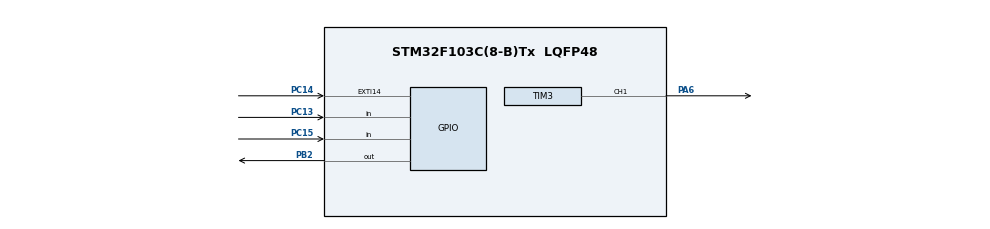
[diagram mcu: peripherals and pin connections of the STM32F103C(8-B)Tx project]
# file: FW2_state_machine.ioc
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Mcu.Family=STM32F1
Mcu.Name=STM32F103C(8-B)Tx
Mcu.Package=LQFP48
NVIC.EXTI15_10_IRQn=true\:1\:0\:true\:false\:true\:true\:true
NVIC.PriorityGroup=NVIC_PRIORITYGROUP_4
NVIC.TIM3_IRQn=true\:0\:0\:false\:false\:true\:true\:true
PA13.Mode=Serial_Wire
PA13.Signal=SYS_JTMS-SWDIO
PA14.Mode=Serial_Wire
PA14.Signal=SYS_JTCK-SWCLK
PA6.Signal=S_TIM3_CH1
PB2.GPIO_PuPd=GPIO_PULLDOWN
PB2.Signal=GPIO_Output
PC13-TAMPER-RTC.GPIO_PuPd=GPIO_PULLUP
PC13-TAMPER-RTC.Signal=GPIO_Input
PC14-OSC32_IN.GPIO_ModeDefaultEXTI=GPIO_MODE_IT_FALLING
PC14-OSC32_IN.GPIO_PuPd=GPIO_PULLUP
PC14-OSC32_IN.Signal=GPXTI14
PC15-OSC32_OUT.GPIO_PuPd=GPIO_PULLUP
PC15-OSC32_OUT.Signal=GPIO_Input
ProjectManager.HeapSize=0x200
ProjectManager.StackSize=0x400
ProjectManager.TargetToolchain=STM32CubeIDE
RCC.APB1Freq_Value=8000000
RCC.APB2Freq_Value=8000000
SH.S_TIM3_CH1.0=TIM3_CH1,PWM Generation1 CH1
TIM3.Channel-PWM\ Generation1\ CH1=TIM_CHANNEL_1
TIM3.Period=99
VP_TIM3_VS_ClockSourceINT.Mode=Internal
board=custom

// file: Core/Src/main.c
/* USER CODE BEGIN Header */
/**
  ******************************************************************************
  * @file           : main.c
  * @brief          : Main program body
  ******************************************************************************
  * @attention
  *
  * <h2><center>&copy; Copyright (c) 2023 STMicroelectronics.
  * All rights reserved.</center></h2>
  *
  * This software component is licensed by ST under BSD 3-Clause license,
  * the "License"; You may not use this file except in compliance with the
  * License. You may obtain a copy of the License at:
  *                        opensource.org/licenses/BSD-3-Clause
  *
  ******************************************************************************
  */
/* USER CODE END Header */
#include "main.h"

/* USER CODE BEGIN Includes */
#include "button.h"
#include "flash.h"
/* USER CODE END Includes */

/* USER CODE BEGIN PD */
#define SPEED_FAST_BLINK 	100 //ms
#define SPEED_SLOW_BLINK 	1000 //ms
#define SOFT_START			0
#define IDLE				1
#define	RUN 				2
#define ERROR_STATE			3
#define GPIOx_LED1			GPIOB
#define PIN_LED1			GPIO_PIN_2
#define GPIOx_BTN1			GPIOC
#define PIN_BTN1			GPIO_PIN_13
#define GPIOx_BTN2			GPIOC
#define PIN_BTN2			GPIO_PIN_14
#define NON_ERROR			0

/* USER CODE END PD */

TIM_HandleTypeDef htim3;

/* USER CODE BEGIN PV */

BUTTON_Name button_1;

/* USER CODE END PV */

void SystemClock_Config(void);
static void MX_GPIO_Init(void);
static void MX_TIM3_Init(void);
/* USER CODE BEGIN PFP */
void soft_start ();
void idle();
void run();
void error();
void fast_blinky(GPIO_TypeDef *GPIOx, uint16_t GPIO_Pin);
void error_led_blinky();
void slow_blinky(GPIO_TypeDef *GPIOx, uint16_t GPIO_Pin);
void led_on(GPIO_TypeDef *GPIOx, uint16_t GPIO_Pin);
void led_off(GPIO_TypeDef *GPIOx, uint16_t GPIO_Pin);

/* USER CODE END PFP */

/* USER CODE BEGIN 0 */
void fast_blinky(GPIO_TypeDef *GPIOx, uint16_t GPIO_Pin){
	HAL_GPIO_TogglePin(GPIOx, GPIO_Pin);
	HAL_Delay(SPEED_FAST_BLINK);
}

void error_led_blinky(){
	led_off(GPIOx_LED1, PIN_LED1);
	htim3.Instance->CCR1 = 0;
	HAL_Delay(SPEED_FAST_BLINK);
	led_on(GPIOx_LED1, PIN_LED1);
	htim3.Instance->CCR1 = 100;
	HAL_Delay(SPEED_FAST_BLINK);
}

void slow_blinky(GPIO_TypeDef *GPIOx, uint16_t GPIO_Pin){
	HAL_GPIO_TogglePin(GPIOx, GPIO_Pin);
	HAL_Delay(SPEED_SLOW_BLINK);
}

// 0 led off, 1 led on
void led_on(GPIO_TypeDef *GPIOx, uint16_t GPIO_Pin){
	HAL_GPIO_WritePin(GPIOx, GPIO_Pin, GPIO_PIN_SET);
}
void led_off(GPIO_TypeDef *GPIOx, uint16_t GPIO_Pin){
	HAL_GPIO_WritePin(GPIOx, GPIO_Pin, GPIO_PIN_RESET);
}

void soft_start(){

//	Flash_Write_Uint((SOFT_START), _PAGE_127_);
	int i = 10;
	htim3.Instance->CCR1 = 0;
	while (i!=0){
		fast_blinky(GPIOx_LED1, PIN_LED1);
		i--;
	}
	if (Flash_Read_Uint(_PAGE_127_) == (ERROR_STATE)) {

					return;
		}
	Flash_Write_Uint((IDLE), _PAGE_127_);
}

void idle(){
	Flash_Write_Uint((IDLE), _PAGE_127_);
	while ((Flash_Read_Uint(_PAGE_127_) == (IDLE))&&(BUTTON_Read(&button_1) != LONGCLICK_1S)){
				htim3.Instance->CCR1 = 0;
				slow_blinky(GPIOx_LED1, PIN_LED1);
	}
	if (Flash_Read_Uint(_PAGE_127_) == (ERROR_STATE)) return;
	Flash_Write_Uint((RUN), _PAGE_127_);
}

void run(){
	Flash_Write_Uint((RUN), _PAGE_127_);
	int i = 0;
	while ((Flash_Read_Uint(_PAGE_127_) == (RUN))&&(BUTTON_Read(&button_1) != LONGCLICK_1S)){
				if(i<100) i+=5;
				else i = 0;
				htim3.Instance->CCR1 = i;
				led_on(GPIOx_LED1, PIN_LED1);
				HAL_Delay(SPEED_FAST_BLINK);
	}
	if (Flash_Read_Uint(_PAGE_127_) == (ERROR_STATE)) return;
	Flash_Write_Uint((IDLE), _PAGE_127_);
}

void error(){
	Flash_Write_Uint((ERROR_STATE), _PAGE_127_);
	while (BUTTON_Read(&button_1) != DOUBLE_CLICK){
		error_led_blinky();
	}
	Flash_Write_Uint((IDLE), _PAGE_127_);
}
void HAL_GPIO_EXTI_Callback(uint16_t GPIO_Pin){
	if(GPIO_Pin == PIN_BTN2)
	{
		Flash_Write_Uint((ERROR_STATE), _PAGE_127_);
	}
}

/* USER CODE END 0 */

int main(void)
{

  /* MCU Configuration--------------------------------------------------------*/

  /* Reset of all peripherals, Initializes the Flash interface and the Systick. */
  HAL_Init();

  /* USER CODE BEGIN Init */
  BUTTON_Init(&button_1, GPIOx_BTN1, PIN_BTN1);
  /* USER CODE END Init */

  /* Configure the system clock */
  SystemClock_Config();

  /* Initialize all configured peripherals */
  MX_GPIO_Init();
  MX_TIM3_Init();
  /* USER CODE BEGIN 2 */
  HAL_TIM_PWM_Start(&htim3, TIM_CHANNEL_1);

//  Flash_Write_Uint((!NON_ERROR), _PAGE_127_);
  	  soft_start();

  /* USER CODE END 2 */

  /* Infinite loop */
  while (1)
  {

    /* USER CODE BEGIN 3 */
	  switch (Flash_Read_Uint(_PAGE_127_))
	  {
	  	  case ERROR_STATE:
	  		error();
	  		break;
//	  	  case SOFT_START:
//	  		soft_start();
//	  		break;
	  	  case IDLE:
	  		idle();
	  		break;
	  	  case RUN:
	  		run();
	  		break;
	  	  default:
	  		error();
	  }

  }
  /* USER CODE END 3 */
}

void SystemClock_Config(void)
{
  RCC_OscInitTypeDef RCC_OscInitStruct = {0};
  RCC_ClkInitTypeDef RCC_ClkInitStruct = {0};

  /** Initializes the RCC Oscillators according to the specified parameters
  * in the RCC_OscInitTypeDef structure.
  */
  RCC_OscInitStruct.OscillatorType = RCC_OSCILLATORTYPE_HSI;
  RCC_OscInitStruct.HSIState = RCC_HSI_ON;
  RCC_OscInitStruct.HSICalibrationValue = RCC_HSICALIBRATION_DEFAULT;
  RCC_OscInitStruct.PLL.PLLState = RCC_PLL_NONE;
  if (HAL_RCC_OscConfig(&RCC_OscInitStruct) != HAL_OK)
  {
    Error_Handler();
  }
  /** Initializes the CPU, AHB and APB buses clocks
  */
  RCC_ClkInitStruct.ClockType = RCC_CLOCKTYPE_HCLK|RCC_CLOCKTYPE_SYSCLK
                              |RCC_CLOCKTYPE_PCLK1|RCC_CLOCKTYPE_PCLK2;
  RCC_ClkInitStruct.SYSCLKSource = RCC_SYSCLKSOURCE_HSI;
  RCC_ClkInitStruct.AHBCLKDivider = RCC_SYSCLK_DIV1;
  RCC_ClkInitStruct.APB1CLKDivider = RCC_HCLK_DIV1;
  RCC_ClkInitStruct.APB2CLKDivider = RCC_HCLK_DIV1;

  if (HAL_RCC_ClockConfig(&RCC_ClkInitStruct, FLASH_LATENCY_0) != HAL_OK)
  {
    Error_Handler();
  }
}

static void MX_TIM3_Init(void)
{

  TIM_ClockConfigTypeDef sClockSourceConfig = {0};
  TIM_MasterConfigTypeDef sMasterConfig = {0};
  TIM_OC_InitTypeDef sConfigOC = {0};

  htim3.Instance = TIM3;
  htim3.Init.Prescaler = 0;
  htim3.Init.CounterMode = TIM_COUNTERMODE_UP;
  htim3.Init.Period = 99;
  htim3.Init.ClockDivision = TIM_CLOCKDIVISION_DIV1;
  htim3.Init.AutoReloadPreload = TIM_AUTORELOAD_PRELOAD_DISABLE;
  if (HAL_TIM_Base_Init(&htim3) != HAL_OK)
  {
    Error_Handler();
  }
  sClockSourceConfig.ClockSource = TIM_CLOCKSOURCE_INTERNAL;
  if (HAL_TIM_ConfigClockSource(&htim3, &sClockSourceConfig) != HAL_OK)
  {
    Error_Handler();
  }
  if (HAL_TIM_PWM_Init(&htim3) != HAL_OK)
  {
    Error_Handler();
  }
  sMasterConfig.MasterOutputTrigger = TIM_TRGO_RESET;
  sMasterConfig.MasterSlaveMode = TIM_MASTERSLAVEMODE_DISABLE;
  if (HAL_TIMEx_MasterConfigSynchronization(&htim3, &sMasterConfig) != HAL_OK)
  {
    Error_Handler();
  }
  sConfigOC.OCMode = TIM_OCMODE_PWM1;
  sConfigOC.Pulse = 0;
  sConfigOC.OCPolarity = TIM_OCPOLARITY_HIGH;
  sConfigOC.OCFastMode = TIM_OCFAST_DISABLE;
  if (HAL_TIM_PWM_ConfigChannel(&htim3, &sConfigOC, TIM_CHANNEL_1) != HAL_OK)
  {
    Error_Handler();
  }
  HAL_TIM_MspPostInit(&htim3);

}

static void MX_GPIO_Init(void)
{
  GPIO_InitTypeDef GPIO_InitStruct = {0};

  /* GPIO Ports Clock Enable */
  __HAL_RCC_GPIOC_CLK_ENABLE();
  __HAL_RCC_GPIOA_CLK_ENABLE();
  __HAL_RCC_GPIOB_CLK_ENABLE();

  /*Configure GPIO pin Output Level */
  HAL_GPIO_WritePin(GPIOB, GPIO_PIN_2, GPIO_PIN_RESET);

  /*Configure GPIO pins : PC13 PC15 */
  GPIO_InitStruct.Pin = GPIO_PIN_13|GPIO_PIN_15;
  GPIO_InitStruct.Mode = GPIO_MODE_INPUT;
  GPIO_InitStruct.Pull = GPIO_PULLUP;
  HAL_GPIO_Init(GPIOC, &GPIO_InitStruct);

  /*Configure GPIO pin : PC14 */
  GPIO_InitStruct.Pin = GPIO_PIN_14;
  GPIO_InitStruct.Mode = GPIO_MODE_IT_FALLING;
  GPIO_InitStruct.Pull = GPIO_PULLUP;
  HAL_GPIO_Init(GPIOC, &GPIO_InitStruct);

  /*Configure GPIO pin : PB2 */
  GPIO_InitStruct.Pin = GPIO_PIN_2;
  GPIO_InitStruct.Mode = GPIO_MODE_OUTPUT_PP;
  GPIO_InitStruct.Pull = GPIO_PULLDOWN;
  GPIO_InitStruct.Speed = GPIO_SPEED_FREQ_LOW;
  HAL_GPIO_Init(GPIOB, &GPIO_InitStruct);

  /* EXTI interrupt init*/
  HAL_NVIC_SetPriority(EXTI15_10_IRQn, 1, 0);
  HAL_NVIC_EnableIRQ(EXTI15_10_IRQn);

}

void Error_Handler(void)
{
  __disable_irq();
  while (1)
  {
  }
}

/************************ (C) COPYRIGHT STMicroelectronics *****END OF FILE****/
